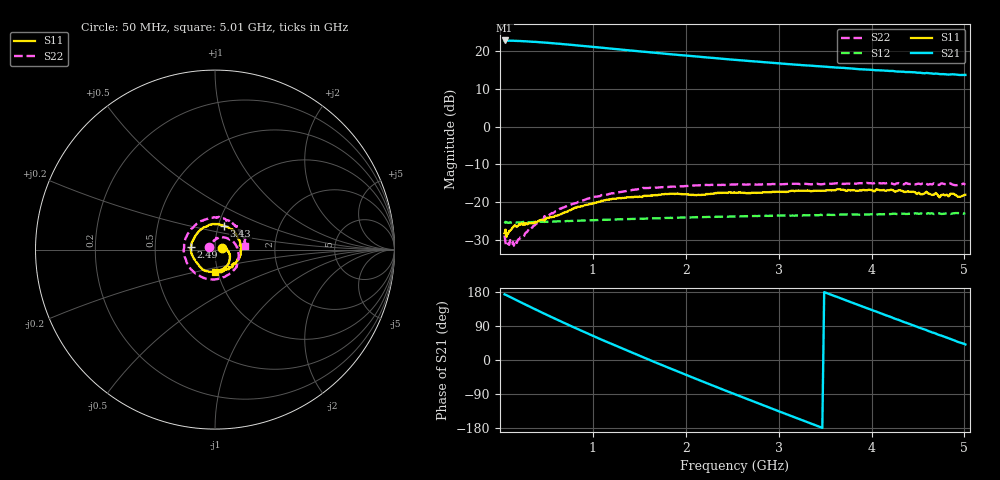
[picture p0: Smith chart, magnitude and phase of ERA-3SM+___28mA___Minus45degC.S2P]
! Mini-Circuits
! S2P DATA File Format
! Type: MMIC Amplifier
! Model: ERA-3SM  Reference Data: RDF-1128B
! Note: All S Parameters are in dB deg format
! TEST CONDITIONS: INPUT POWER = -25dBm, Icc = 28mA, Vd = 3.39V @Temperature = -45degC
! 401 Frequency points
# MHz S DB R 50
!  FREQ  dB(S11)  PHS(S11)  dB(S21)  PHS(S21)  dB(S12)  PHS(S12)  dB(S22)  PHS(S22)
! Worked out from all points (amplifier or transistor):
!   401 points, 50 MHz to 5.01 GHz, reference 50 ohm
!   highest |S21| = 22.7 dB at 50 MHz (marker M1)
!   |S21| within 3 dB of that: start of sweep to 1.551 GHz
!   unconditionally stable (mu >= 1): start of sweep to end of sweep
!   at 710 MHz: K = 1.05, MAG = 21.9 dB, |S12| = -24.9 dB
!   at 2.05 GHz: K = 1.14, MAG = 19.0 dB, |S12| = -24.0 dB
!   at 5.01 GHz: K = 1.57, MAG = 13.8 dB, |S12| = -22.8 dB
!   S11 on the Smith chart (normalised r, x): 50 MHz: 1.08, +0.02; 2.49 GHz: 0.76, +0.02; 3.43 GHz: 1.06, +0.29; 5.01 GHz: 0.96, -0.25
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50  -28.13 10.7  22.74 173.3  -25.58 -3.1  -28.75 157.3
230  -25.58 9.6  22.58 151.6  -25.29 -14.0  -29.30 117.8
470  -24.62 10.6  22.21 123.2  -25.13 -28.4  -24.38 83.7
660  -23.09 -4.9  21.81 101.3  -25.00 -40.5  -21.66 55.4
880  -21.00 -21.9  21.32 76.8  -24.81 -54.9  -19.64 29.0
1100  -19.63 -41.2  20.81 53.0  -24.64 -69.2  -18.10 5.3
1290  -18.85 -58.5  20.38 33.0  -24.50 -81.9  -17.28 -14.2
1510  -18.47 -80.5  19.86 10.2  -24.32 -96.8  -16.45 -36.4
1710  -18.01 -101.3  19.40 -10.1  -24.21 -110.5  -16.05 -56.8
1920  -17.74 -122.1  18.93 -31.0  -24.04 -125.0  -15.82 -77.2
2100  -18.06 -141.4  18.54 -48.8  -23.96 -137.5  -15.54 -93.6
2290  -17.69 -165.1  18.13 -67.4  -23.85 -150.7  -15.41 -114.0
2490  -17.42 174.3  17.69 -86.6  -23.76 -164.7  -15.30 -134.3
2530  -17.42 170.1  17.62 -90.4  -23.73 -167.6  -15.27 -138.1
2750  -17.48 143.4  17.19 -111.4  -23.60 176.9  -15.30 -159.1
2980  -17.16 118.1  16.75 -133.2  -23.51 161.0  -15.23 178.7
3370  -17.02 76.8  16.03 -169.6  -23.40 133.4  -15.18 142.2
3430  -16.90 69.5  15.94 -175.2  -23.42 129.2  -15.18 136.7
3750  -16.72 36.4  15.41 155.1  -23.22 106.4  -15.06 108.7
4190  -16.82 -7.5  14.69 115.0  -23.11 74.9  -14.88 72.5
4570  -17.63 -39.9  14.08 80.7  -23.11 47.3  -14.82 43.7
5010  -17.99 -91.1  13.64 41.0  -22.83 17.0  -15.36 6.0
